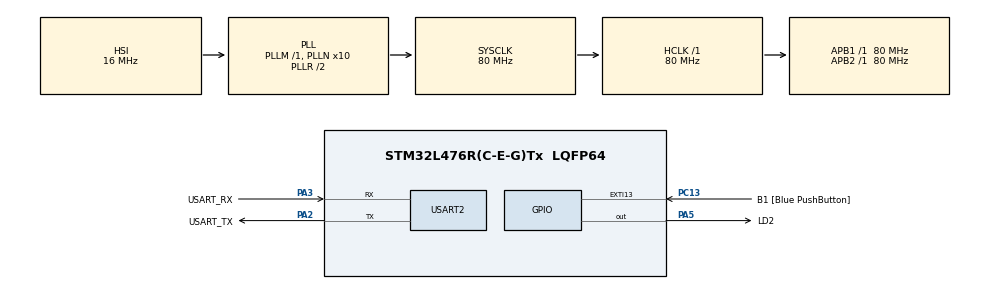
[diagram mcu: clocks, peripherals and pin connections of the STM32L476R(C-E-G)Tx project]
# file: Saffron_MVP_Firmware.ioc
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Mcu.Family=STM32L4
Mcu.Name=STM32L476R(C-E-G)Tx
Mcu.Package=LQFP64
NVIC.PriorityGroup=NVIC_PRIORITYGROUP_4
NVIC.USART2_IRQn=true\:0\:0\:false\:false\:true\:true\:true\:true
PA13\ (JTMS-SWDIO).GPIO_Label=TMS
PA13\ (JTMS-SWDIO).Mode=Serial_Wire
PA13\ (JTMS-SWDIO).Signal=SYS_JTMS-SWDIO
PA14\ (JTCK-SWCLK).GPIO_Label=TCK
PA14\ (JTCK-SWCLK).Mode=Serial_Wire
PA14\ (JTCK-SWCLK).Signal=SYS_JTCK-SWCLK
PA2.GPIO_Label=USART_TX
PA2.GPIO_Mode=GPIO_MODE_AF_PP
PA2.GPIO_PuPd=GPIO_NOPULL
PA2.GPIO_Speed=GPIO_SPEED_FREQ_VERY_HIGH
PA2.Mode=Asynchronous
PA2.Signal=USART2_TX
PA3.GPIO_Label=USART_RX
PA3.GPIO_Mode=GPIO_MODE_AF_PP
PA3.GPIO_PuPd=GPIO_NOPULL
PA3.GPIO_Speed=GPIO_SPEED_FREQ_VERY_HIGH
PA3.Mode=Asynchronous
PA3.Signal=USART2_RX
PA5.GPIO_Label=LD2
PA5.GPIO_ModeDefaultOutputPP=GPIO_MODE_OUTPUT_PP
PA5.GPIO_PuPd=GPIO_NOPULL
PA5.GPIO_Speed=GPIO_SPEED_FREQ_LOW
PA5.Signal=GPIO_Output
PB3\ (JTDO-TRACESWO).GPIO_Label=SWO
PB3\ (JTDO-TRACESWO).Signal=SYS_JTDO-SWO
PC13.GPIO_Label=B1 [Blue PushButton]
PC13.GPIO_ModeDefaultEXTI=GPIO_MODE_IT_FALLING
PC13.GPIO_PuPd=GPIO_NOPULL
PC13.Signal=GPXTI13
PC14-OSC32_IN\ (PC14).Mode=LSE-External-Oscillator
PC14-OSC32_IN\ (PC14).Signal=RCC_OSC32_IN
PC15-OSC32_OUT\ (PC15).Mode=LSE-External-Oscillator
PC15-OSC32_OUT\ (PC15).Signal=RCC_OSC32_OUT
PH0-OSC_IN\ (PH0).Signal=RCC_OSC_IN
PH1-OSC_OUT\ (PH1).Signal=RCC_OSC_OUT
ProjectManager.HeapSize=0x200
ProjectManager.StackSize=0x400
ProjectManager.TargetToolchain=STM32CubeIDE
RCC.ADCFreq_Value=64000000
RCC.AHBFreq_Value=80000000
RCC.APB1Freq_Value=80000000
RCC.APB1TimFreq_Value=80000000
RCC.APB2Freq_Value=80000000
RCC.APB2TimFreq_Value=80000000
RCC.CortexFreq_Value=80000000
RCC.HCLKFreq_Value=80000000
RCC.HSE_VALUE=8000000
RCC.HSI_VALUE=16000000
RCC.MSI_VALUE=4000000
RCC.PLLN=10
RCC.PLLSourceVirtual=RCC_PLLSOURCE_HSI
RCC.PREFETCH_ENABLE=1
RCC.SYSCLKFreq_VALUE=80000000
RCC.SYSCLKSource=RCC_SYSCLKSOURCE_PLLCLK
RCC.USBFreq_Value=64000000
RCC.VCOOutputFreq_Value=160000000
USART2.VirtualMode-Asynchronous=VM_ASYNC
board=NUCLEO-L476RG

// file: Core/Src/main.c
/* USER CODE BEGIN Header */
/**
  ******************************************************************************
  * @file           : main.c
  * @brief          : Main program body
  ******************************************************************************
  * @attention
  *
  * Copyright (c) 2025 STMicroelectronics.
  * All rights reserved.
  *
  * This software is licensed under terms that can be found in the LICENSE file
  * in the root directory of this software component.
  * If no LICENSE file comes with this software, it is provided AS-IS.
  *
  ******************************************************************************
  */
/* USER CODE END Header */
#include "main.h"

UART_HandleTypeDef huart2;

/* USER CODE BEGIN PV */
uint8_t rx_buffer[32]; // 接收缓冲区
uint8_t rx_data;       // 临时存放一个字节的数据
uint8_t rx_index = 0;    // 接收缓冲区索引
/* USER CODE END PV */

void SystemClock_Config(void);
static void MX_GPIO_Init(void);
static void MX_USART2_UART_Init(void);

int main(void)
{

  /* MCU Configuration--------------------------------------------------------*/

  /* Reset of all peripherals, Initializes the Flash interface and the Systick. */
  HAL_Init();

  /* Configure the system clock */
  SystemClock_Config();

  /* Initialize all configured peripherals */
  MX_GPIO_Init();
  MX_USART2_UART_Init();
  /* USER CODE BEGIN 2 */
  HAL_UART_Receive_IT(&huart2, &rx_data, 1);
  /* USER CODE END 2 */

  /* Infinite loop */
  /* USER CODE BEGIN WHILE */
  while (1)
  {
    // 模拟温湿度数据
    float temp = 25.5;
    float hum = 60.2;

    // 创建一个缓冲区来格式化字符串
    char tx_buffer[64];

    // 使用 sprintf 格式化字符串，注意末尾的 \n 是必须的！
    sprintf(tx_buffer, "%.1f,%.1f\r\n", temp, hum);
    // 通过 UART2 发送数据
    HAL_UART_Transmit(&huart2, (uint8_t*)tx_buffer, strlen(tx_buffer), HAL_MAX_DELAY);

    // 延时2秒
    HAL_Delay(2000);

    /* USER CODE END WHILE */
  }
}

void SystemClock_Config(void)
{
  RCC_OscInitTypeDef RCC_OscInitStruct = {0};
  RCC_ClkInitTypeDef RCC_ClkInitStruct = {0};

  /** Configure the main internal regulator output voltage
  */
  if (HAL_PWREx_ControlVoltageScaling(PWR_REGULATOR_VOLTAGE_SCALE1) != HAL_OK)
  {
    Error_Handler();
  }

  /** Initializes the RCC Oscillators according to the specified parameters
  * in the RCC_OscInitTypeDef structure.
  */
  RCC_OscInitStruct.OscillatorType = RCC_OSCILLATORTYPE_HSI;
  RCC_OscInitStruct.HSIState = RCC_HSI_ON;
  RCC_OscInitStruct.HSICalibrationValue = RCC_HSICALIBRATION_DEFAULT;
  RCC_OscInitStruct.PLL.PLLState = RCC_PLL_ON;
  RCC_OscInitStruct.PLL.PLLSource = RCC_PLLSOURCE_HSI;
  RCC_OscInitStruct.PLL.PLLM = 1;
  RCC_OscInitStruct.PLL.PLLN = 10;
  RCC_OscInitStruct.PLL.PLLP = RCC_PLLP_DIV7;
  RCC_OscInitStruct.PLL.PLLQ = RCC_PLLQ_DIV2;
  RCC_OscInitStruct.PLL.PLLR = RCC_PLLR_DIV2;
  if (HAL_RCC_OscConfig(&RCC_OscInitStruct) != HAL_OK)
  {
    Error_Handler();
  }

  /** Initializes the CPU, AHB and APB buses clocks
  */
  RCC_ClkInitStruct.ClockType = RCC_CLOCKTYPE_HCLK|RCC_CLOCKTYPE_SYSCLK
                              |RCC_CLOCKTYPE_PCLK1|RCC_CLOCKTYPE_PCLK2;
  RCC_ClkInitStruct.SYSCLKSource = RCC_SYSCLKSOURCE_PLLCLK;
  RCC_ClkInitStruct.AHBCLKDivider = RCC_SYSCLK_DIV1;
  RCC_ClkInitStruct.APB1CLKDivider = RCC_HCLK_DIV1;
  RCC_ClkInitStruct.APB2CLKDivider = RCC_HCLK_DIV1;

  if (HAL_RCC_ClockConfig(&RCC_ClkInitStruct, FLASH_LATENCY_4) != HAL_OK)
  {
    Error_Handler();
  }
}

static void MX_USART2_UART_Init(void)
{

  huart2.Instance = USART2;
  huart2.Init.BaudRate = 115200;
  huart2.Init.WordLength = UART_WORDLENGTH_8B;
  huart2.Init.StopBits = UART_STOPBITS_1;
  huart2.Init.Parity = UART_PARITY_NONE;
  huart2.Init.Mode = UART_MODE_TX_RX;
  huart2.Init.HwFlowCtl = UART_HWCONTROL_NONE;
  huart2.Init.OverSampling = UART_OVERSAMPLING_16;
  huart2.Init.OneBitSampling = UART_ONE_BIT_SAMPLE_DISABLE;
  huart2.AdvancedInit.AdvFeatureInit = UART_ADVFEATURE_NO_INIT;
  if (HAL_UART_Init(&huart2) != HAL_OK)
  {
    Error_Handler();
  }

}

static void MX_GPIO_Init(void)
{
  GPIO_InitTypeDef GPIO_InitStruct = {0};

  /* GPIO Ports Clock Enable */
  __HAL_RCC_GPIOC_CLK_ENABLE();
  __HAL_RCC_GPIOH_CLK_ENABLE();
  __HAL_RCC_GPIOA_CLK_ENABLE();
  __HAL_RCC_GPIOB_CLK_ENABLE();

  /*Configure GPIO pin Output Level */
  HAL_GPIO_WritePin(LD2_GPIO_Port, LD2_Pin, GPIO_PIN_RESET);

  /*Configure GPIO pin : B1_Pin */
  GPIO_InitStruct.Pin = B1_Pin;
  GPIO_InitStruct.Mode = GPIO_MODE_IT_FALLING;
  GPIO_InitStruct.Pull = GPIO_NOPULL;
  HAL_GPIO_Init(B1_GPIO_Port, &GPIO_InitStruct);

  /*Configure GPIO pin : LD2_Pin */
  GPIO_InitStruct.Pin = LD2_Pin;
  GPIO_InitStruct.Mode = GPIO_MODE_OUTPUT_PP;
  GPIO_InitStruct.Pull = GPIO_NOPULL;
  GPIO_InitStruct.Speed = GPIO_SPEED_FREQ_LOW;
  HAL_GPIO_Init(LD2_GPIO_Port, &GPIO_InitStruct);

}

/* USER CODE BEGIN 4 */
void HAL_UART_RxCpltCallback(UART_HandleTypeDef *huart)
{
    // 确保是USART2触发的中断
    if(huart->Instance == USART2)
    {
        // 将收到的字节存入缓冲区
        rx_buffer[rx_index++] = rx_data;

        // 如果收到了换行符 '\n'，或者缓冲区满了
        if(rx_data == '\n' || rx_index >= sizeof(rx_buffer))
        {
            // 简单的指令判断
            if(strncmp((char*)rx_buffer, "LED_ON", 6) == 0)
            {
                HAL_GPIO_WritePin(LD2_GPIO_Port, LD2_Pin, GPIO_PIN_SET); // 开灯
            }
            else if(strncmp((char*)rx_buffer, "LED_OFF", 7) == 0)
            {
                HAL_GPIO_WritePin(LD2_GPIO_Port, LD2_Pin, GPIO_PIN_RESET); // 关灯
            }

            // 清空接收缓冲区和索引
            rx_index = 0;
            memset(rx_buffer, 0, sizeof(rx_buffer));
        }

        // 再次启动中断接收，准备接收下一个字节
        HAL_UART_Receive_IT(&huart2, &rx_data, 1);
    }
}
/* USER CODE END 4 */

void Error_Handler(void)
{
  __disable_irq();
  while (1)
  {
  }
}
